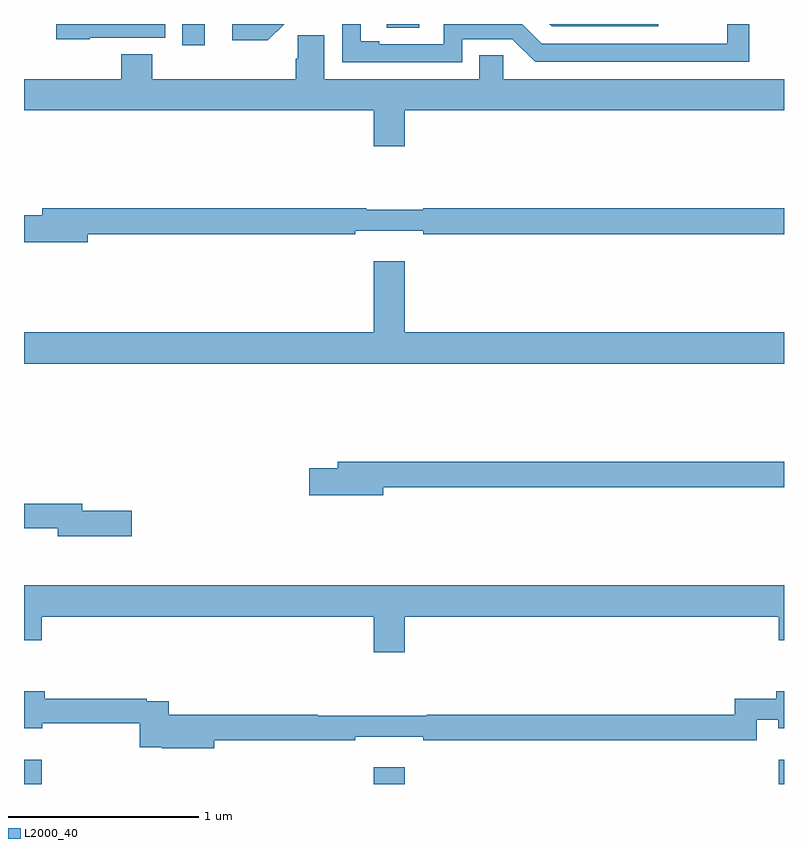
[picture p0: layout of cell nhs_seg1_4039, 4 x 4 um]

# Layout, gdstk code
import gdstk
lib = gdstk.Library(unit=1e-6, precision=1e-09)
def R(c, l, rs):  # rectangles x0, y0, x1, y1
    for r in rs: c.add(gdstk.rectangle(r[:2], r[2:], *l))
def P(c, l, *ps):  # polygons
    for p in ps: c.add(gdstk.Polygon(p, *l))
L2000_40 = (2000, 40)

nhs_seg1_4039 = lib.new_cell('nhs_seg1_4039')
R(nhs_seg1_4039, L2000_40, [(331,536.199,331.094,536.326), (332.84,536.199,333.004,536.287), (334.973,536.199,335,536.326), (331.833,540.087,331.951,540.199), (332.91,540.178,333.08,540.199)])
P(nhs_seg1_4039, L2000_40, [(332.371,540.199),(332.097,540.199),(332.097,540.113),(332.284,540.113)],
  [(333.306,540.12),(333.57,540.12),(333.69,540),(334.817,540),(334.817,540.199),(334.701,540.199),(334.701,540.096),(333.726,540.096),(333.623,540.199),(333.21,540.199),(333.21,540.093),(332.869,540.093),(332.869,540.108),(332.773,540.108),(332.773,540.199),(332.676,540.199),(332.676,539.997),(333.306,539.997)],
  [(334.338,540.199),(333.764,540.199),(333.777,540.186),(334.338,540.186)],
  [(331.347,540.126),(331.743,540.126),(331.743,540.199),(331.171,540.199),(331.171,540.119),(331.347,540.119)],
  [(333.004,539.744),(335,539.744),(335,539.908),(333.522,539.908),(333.522,540.035),(333.395,540.035),(333.395,539.908),(332.581,539.908),(332.581,540.14),(332.442,540.14),(332.442,540.017),(332.429,540.017),(332.429,539.908),(331.676,539.908),(331.676,540.041),(331.511,540.041),(331.511,539.908),(331,539.908),(331,539.744),(332.84,539.744),(332.84,539.556),(333.004,539.556)],
  [(331.336,539.092),(332.744,539.092),(332.744,539.111),(333.1,539.111),(333.1,539.092),(335,539.092),(335,539.228),(333.101,539.228),(333.101,539.221),(332.801,539.221),(332.801,539.228),(331.097,539.228),(331.097,539.192),(331,539.192),(331,539.05),(331.336,539.05)],
  [(335,538.576),(333.004,538.576),(333.004,538.951),(332.84,538.951),(332.84,538.576),(331,538.576),(331,538.412),(335,538.412)],
  [(332.89,537.76),(335,537.76),(335,537.896),(332.651,537.896),(332.651,537.86),(332.502,537.86),(332.502,537.718),(332.89,537.718)],
  [(331.567,537.638),(331.306,537.638),(331.306,537.674),(331,537.674),(331,537.546),(331.178,537.546),(331.178,537.503),(331.567,537.503)],
  [(333.004,537.08),(334.973,537.08),(334.973,536.956),(335,536.956),(335,537.244),(331,537.244),(331,536.956),(331.094,536.956),(331.094,537.08),(332.84,537.08),(332.84,536.892),(333.004,536.892)],
  [(332.002,536.428),(332.744,536.428),(332.744,536.447),(333.1,536.447),(333.1,536.428),(334.857,536.428),(334.857,536.537),(334.97,536.537),(334.97,536.492),(335,536.492),(335,536.686),(334.958,536.686),(334.958,536.647),(334.741,536.647),(334.741,536.564),(333.119,536.564),(333.119,536.557),(332.546,536.557),(332.546,536.564),(331.763,536.564),(331.763,536.634),(331.646,536.634),(331.646,536.647),(331.109,536.647),(331.109,536.686),(331,536.686),(331,536.492),(331.096,536.492),(331.096,536.518),(331.61,536.518),(331.61,536.393),(331.726,536.393),(331.726,536.386),(332.002,536.386)])

lib.write_gds('nhs_seg1_4039.gds')
